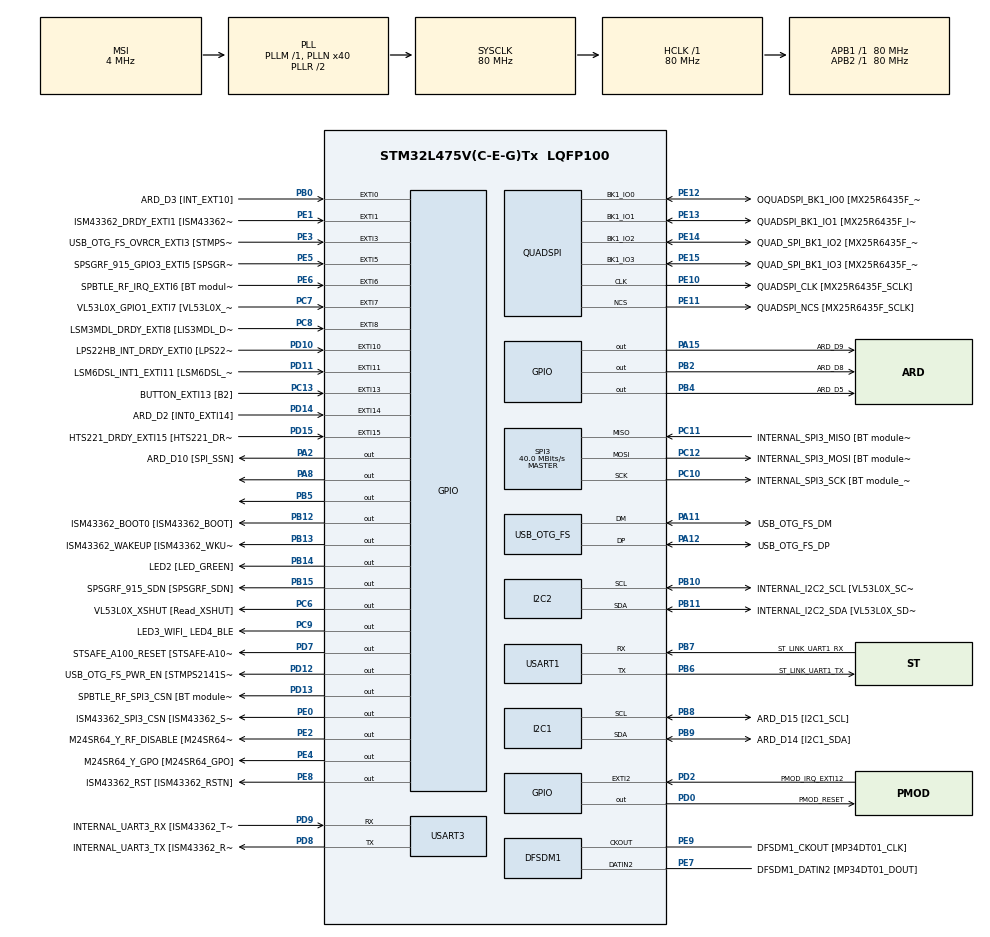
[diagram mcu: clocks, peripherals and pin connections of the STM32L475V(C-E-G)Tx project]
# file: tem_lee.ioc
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I2C1.Timing=0x10D19CE4
I2C2.Timing=0x10D19CE4
Mcu.Family=STM32L4
Mcu.Name=STM32L475V(C-E-G)Tx
Mcu.Package=LQFP100
NVIC.EXTI15_10_IRQn=true\:0\:0\:false\:false\:true\:true\:true\:true
NVIC.EXTI9_5_IRQn=true\:0\:0\:false\:false\:true\:true\:true\:true
NVIC.PriorityGroup=NVIC_PRIORITYGROUP_4
PA0.GPIO_Label=ARD_D1 [UART4_TX]
PA0.Signal=UART4_TX
PA1.GPIO_Label=ARD_D0 [UART4_RX]
PA1.Signal=UART4_RX
PA10.GPIO_Label=USB_OTG_FS_ID
PA10.Signal=USB_OTG_FS_ID
PA11.GPIO_Label=USB_OTG_FS_DM
PA11.Mode=Device_Only
PA11.Signal=USB_OTG_FS_DM
PA12.GPIO_Label=USB_OTG_FS_DP
PA12.Mode=Device_Only
PA12.Signal=USB_OTG_FS_DP
PA13\ (JTMS-SWDIO).GPIO_Label=SYS_JTMS_SWDIO
PA13\ (JTMS-SWDIO).Mode=Serial_Wire
PA13\ (JTMS-SWDIO).Signal=SYS_JTMS-SWDIO
PA14\ (JTCK-SWCLK).GPIO_Label=SYS_JTCK_SWCLK
PA14\ (JTCK-SWCLK).Mode=Serial_Wire
PA14\ (JTCK-SWCLK).Signal=SYS_JTCK-SWCLK
PA15\ (JTDI).GPIO_Label=ARD_D9
PA15\ (JTDI).Signal=GPIO_Output
PA2.GPIO_Label=ARD_D10 [SPI_SSN]
PA2.Signal=GPIO_Output
PA3.GPIO_Label=ARD_D4
PA3.Signal=S_TIM2_CH4
PA4.GPIO_Label=ARD_D7
PA4.Signal=ADCx_IN9
PA5.GPIO_Label=ARD_D13 [SPI1_SCK]
PA5.Signal=SPI1_SCK
PA6.GPIO_Label=ARD_D12 [SPI1_MISO]
PA6.Signal=SPI1_MISO
PA7.GPIO_Label=ARD_D11 [SPI1_MOSI]
PA7.Signal=SPI1_MOSI
PA8.Signal=GPIO_Output
PA9.Signal=USB_OTG_FS_VBUS
PB0.GPIO_Label=ARD_D3 [INT_EXT10]
PB0.Signal=GPXTI0
PB1.GPIO_Label=ARD_D6 [ADC1_IN6]
PB1.Signal=ADCx_IN16
PB10.GPIO_Label=INTERNAL_I2C2_SCL [VL53L0X_SCL]
PB10.GPIO_Pu=GPIO_PULLUP
PB10.Mode=I2C
PB10.Signal=I2C2_SCL
PB11.GPIO_Label=INTERNAL_I2C2_SDA [VL53L0X_SDA]
PB11.GPIO_Pu=GPIO_PULLUP
PB11.Mode=I2C
PB11.Signal=I2C2_SDA
PB12.GPIO_Label=ISM43362_BOOT0 [ISM43362_BOOT]
PB12.Signal=GPIO_Output
PB13.GPIO_Label=ISM43362_WAKEUP [ISM43362_WKUP]
PB13.Signal=GPIO_Output
PB14.GPIO_Label=LED2 [LED_GREEN]
PB14.Signal=GPIO_Output
PB15.GPIO_Label=SPSGRF_915_SDN [SPSGRF_SDN]
PB15.Signal=GPIO_Output
PB2.GPIO_Label=ARD_D8
PB2.Signal=GPIO_Output
PB3\ (JTDO-TRACESWO).GPIO_Label=SYS_JTD0_SWO
PB3\ (JTDO-TRACESWO).Signal=SYS_JTDO-SWO
PB4\ (NJTRST).GPIO_Label=ARD_D5
PB4\ (NJTRST).Signal=GPIO_Output
PB5.Signal=GPIO_Output
PB6.GPIO_Label=ST_LINK_UART1_TX
PB6.Mode=Asynchronous
PB6.Signal=USART1_TX
PB7.GPIO_Label=ST_LINK_UART1_RX
PB7.Mode=Asynchronous
PB7.Signal=USART1_RX
PB8.GPIO_Label=ARD_D15 [I2C1_SCL]
PB8.Mode=I2C
PB8.Signal=I2C1_SCL
PB9.GPIO_Label=ARD_D14 [I2C1_SDA]
PB9.Mode=I2C
PB9.Signal=I2C1_SDA
PC0.GPIO_Label=ARD_A5 [ADC]
PC0.Signal=ADCx_IN1
PC1.GPIO_Label=ARD_A4 [ADC]
PC1.Signal=ADCx_IN2
PC10.GPIO_Label=INTERNAL_SPI3_SCK [BT module_SPI_SCLK] [ISM43362_SCK]
PC10.Mode=Full_Duplex_Master
PC10.Signal=SPI3_SCK
PC11.GPIO_Label=INTERNAL_SPI3_MISO [BT module_SPI_MISO] [ISM43362_MISO]
PC11.Mode=Full_Duplex_Master
PC11.Signal=SPI3_MISO
PC12.GPIO_Label=INTERNAL_SPI3_MOSI [BT module_SPI_MOSI] [ISM43362_MOSI]
PC12.Mode=Full_Duplex_Master
PC12.Signal=SPI3_MOSI
PC13.GPIO_Label=BUTTON_EXTI13 [B2]
PC13.GPIO_ModeDefaultEXTI=GPIO_MODE_IT_FALLING
PC13.Signal=GPXTI13
PC14-OSC32_IN\ (PC14).Mode=LSE-External-Oscillator
PC14-OSC32_IN\ (PC14).Signal=RCC_OSC32_IN
PC15-OSC32_OUT\ (PC15).Mode=LSE-External-Oscillator
PC15-OSC32_OUT\ (PC15).Signal=RCC_OSC32_OUT
PC2.GPIO_Label=ARD_A3 [ADC]
PC2.Signal=ADCx_IN3
PC3.GPIO_Label=ARD_A2 [ADC]
PC3.Signal=ADCx_IN4
PC4.GPIO_Label=ARD_A1 [ADC]
PC4.Signal=ADCx_IN13
PC5.GPIO_Label=ARD_A0 [ADC]
PC5.Signal=ADCx_IN14
PC6.GPIO_Label=VL53L0X_XSHUT [Read_XSHUT]
PC6.Signal=GPIO_Output
PC7.GPIO_Label=VL53L0X_GPIO1_EXTI7 [VL53L0X_GPIO1]
PC7.Signal=GPXTI7
PC8.GPIO_Label=LSM3MDL_DRDY_EXTI8 [LIS3MDL_DRDY]
PC8.Signal=GPXTI8
PC9.GPIO_Label=LED3_WIFI_ LED4_BLE
PC9.Signal=GPIO_Output
PD0.GPIO_Label=PMOD_RESET
PD0.Signal=GPIO_Output
PD1.GPIO_Label=PMOD_SPI2_SCK
PD1.Signal=SPI2_SCK
PD10.GPIO_Label=LPS22HB_INT_DRDY_EXTI0 [LPS22HB_INT_DRDY] 
PD10.Signal=GPXTI10
PD11.GPIO_Label=LSM6DSL_INT1_EXTI11 [LSM6DSL_INT1]
PD11.Signal=GPXTI11
PD12.GPIO_Label=USB_OTG_FS_PWR_EN [STMPS2141STR_EN]
PD12.Signal=GPIO_Output
PD13.GPIO_Label=SPBTLE_RF_SPI3_CSN [BT module_SPI_CS]
PD13.PinState=GPIO_PIN_SET
PD13.Signal=GPIO_Output
PD14.GPIO_Label=ARD_D2 [INT0_EXTI14]
PD14.Signal=GPXTI14
PD15.GPIO_Label=HTS221_DRDY_EXTI15 [HTS221_DRDY]
PD15.Signal=GPXTI15
PD2.GPIO_Label=PMOD_IRQ_EXTI12
PD2.Signal=GPXTI2
PD3.GPIO_Label=PMOD_UART2_CTS
PD3.Signal=USART2_CTS
PD4.GPIO_Label=PMOD_UART2_RTS
PD4.Signal=USART2_RTS
PD5.GPIO_Label=PMOD_UART2_TX
PD5.Signal=USART2_TX
PD6.GPIO_Label=PMOD_UART2_RX
PD6.Signal=USART2_RX
PD7.GPIO_Label=STSAFE_A100_RESET [STSAFE-A100_RESET]
PD7.Signal=GPIO_Output
PD8.GPIO_Label=INTERNAL_UART3_TX [ISM43362_RX]
PD8.Mode=Asynchronous
PD8.Signal=USART3_TX
PD9.GPIO_Label=INTERNAL_UART3_RX [ISM43362_TX]
PD9.Mode=Asynchronous
PD9.Signal=USART3_RX
PE0.GPIO_Label=ISM43362_SPI3_CSN [ISM43362_SSN]
PE0.PinState=GPIO_PIN_SET
PE0.Signal=GPIO_Output
PE1.GPIO_Label=ISM43362_DRDY_EXTI1 [ISM43362_DATARDY]
PE1.Signal=GPXTI1
PE10.GPIO_Label=QUADSPI_CLK [MX25R6435F_SCLK]
PE10.Mode=Single Bank
PE10.Signal=QUADSPI_CLK
PE11.GPIO_Label=QUADSPI_NCS [MX25R6435F_SCLK]
PE11.Mode=Single Bank
PE11.Signal=QUADSPI_NCS
PE12.GPIO_Label=OQUADSPI_BK1_IO0 [MX25R6435F_IO0]
PE12.Mode=Single Bank
PE12.Signal=QUADSPI_BK1_IO0
PE13.GPIO_Label=QUADSPI_BK1_IO1 [MX25R6435F_IO1]
PE13.Mode=Single Bank
PE13.Signal=QUADSPI_BK1_IO1
PE14.GPIO_Label=QUAD_SPI_BK1_IO2 [MX25R6435F_IO2]
PE14.Mode=Single Bank
PE14.Signal=QUADSPI_BK1_IO2
PE15.GPIO_Label=QUAD_SPI_BK1_IO3 [MX25R6435F_IO3]
PE15.Mode=Single Bank
PE15.Signal=QUADSPI_BK1_IO3
PE2.GPIO_Label=M24SR64_Y_RF_DISABLE [M24SR64_RFDIS]
PE2.Signal=GPIO_Output
PE3.GPIO_Label=USB_OTG_FS_OVRCR_EXTI3 [STMPS2141STR_FAULT]
PE3.Signal=GPXTI3
PE4.GPIO_Label=M24SR64_Y_GPO [M24SR64_GPO]
PE4.Signal=GPIO_Output
PE5.GPIO_Label=SPSGRF_915_GPIO3_EXTI5 [SPSGRF_GPIO_3]
PE5.Signal=GPXTI5
PE6.GPIO_Label=SPBTLE_RF_IRQ_EXTI6 [BT module_SPI_IRQ]
PE6.Signal=GPXTI6
PE7.GPIO_Label=DFSDM1_DATIN2 [MP34DT01_DOUT]
PE7.Signal=S_DATAIN2DFSDM1
PE8.GPIO_Label=ISM43362_RST [ISM43362_RSTN]
PE8.Signal=GPIO_Output
PE9.GPIO_Label=DFSDM1_CKOUT [MP34DT01_CLK]
PE9.Signal=S_CKOUTDFSDM1
ProjectManager.HeapSize=0x200
ProjectManager.StackSize=0x400
ProjectManager.TargetToolchain=STM32CubeIDE
QUADSPI.ClockPrescaler=2
QUADSPI.FifoThreshold=4
QUADSPI.FlashSize=23
QUADSPI.SampleShifting=QSPI_SAMPLE_SHIFTING_HALFCYCLE
RCC.ADCFreq_Value=48000000
RCC.AHBFreq_Value=80000000
RCC.APB1Freq_Value=80000000
RCC.APB1TimFreq_Value=80000000
RCC.APB2Freq_Value=80000000
RCC.APB2TimFreq_Value=80000000
RCC.CortexFreq_Value=80000000
RCC.HCLKFreq_Value=80000000
RCC.HSE_VALUE=8000000
RCC.HSI_VALUE=16000000
RCC.MSI_VALUE=4000000
RCC.PLLN=40
RCC.PLLSAI1N=24
RCC.SYSCLKFreq_VALUE=80000000
RCC.SYSCLKSource=RCC_SYSCLKSOURCE_PLLCLK
RCC.USBFreq_Value=48000000
RCC.VCOOutputFreq_Value=160000000
SH.ADCx_IN1.0=ADC1_IN1
SH.ADCx_IN13.0=ADC1_IN13
SH.ADCx_IN14.0=ADC1_IN14
SH.ADCx_IN16.0=ADC1_IN16
SH.ADCx_IN2.0=ADC1_IN2
SH.ADCx_IN3.0=ADC1_IN3
SH.ADCx_IN4.0=ADC1_IN4
SH.ADCx_IN9.0=ADC1_IN9
SH.S_CKOUTDFSDM1.0=DFSDM1_CKOUT,CKOUT
SH.S_CKOUTDFSDM1.1=DFSDM1_CKOUT,PDM_SPI_Input_from_ch12_and_Internal_Clock
SH.S_DATAIN2DFSDM1.0=DFSDM1_DATIN2,PDM_SPI_Input_from_ch12_and_Internal_Clock
SH.S_TIM2_CH4.0=TIM2_CH4
SPI3.CalculateBaudRate=40.0 MBits/s
SPI3.Direction=SPI_DIRECTION_2LINES
SPI3.Mode=SPI_MODE_MASTER
SPI3.VirtualType=VM_MASTER
USART1.VirtualMode-Asynchronous=VM_ASYNC
USART3.VirtualMode-Asynchronous=VM_ASYNC
USB_OTG_FS.VirtualMode=Device_Only
board=B-L475E-IOT01A1

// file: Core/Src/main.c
/* USER CODE BEGIN Header */
/**
  ******************************************************************************
  * @file           : main.c
  * @brief          : Main program body
  ******************************************************************************
  * @attention
  *
  * Copyright (c) 2024 STMicroelectronics.
  * All rights reserved.
  *
  * This software is licensed under terms that can be found in the LICENSE file
  * in the root directory of this software component.
  * If no LICENSE file comes with this software, it is provided AS-IS.
  *
  ******************************************************************************
  */
/* USER CODE END Header */
#include "main.h"

/* USER CODE BEGIN Includes */
#include "stm32l475e_iot01.h"
#include "stm32l475e_iot01_tsensor.h"
#include <math.h>
#include <string.h>
#include <NanoEdgeAI.h>
#include <stdio.h>
/* USER CODE END Includes */

/* USER CODE BEGIN PTD */
#define LEARNING_ITERATIONS 20
#define SLAVE_ADDRESS_LCD 0x4E
/* USER CODE END PTD */

DFSDM_Channel_HandleTypeDef hdfsdm1_channel1;

I2C_HandleTypeDef hi2c1;
I2C_HandleTypeDef hi2c2;

QSPI_HandleTypeDef hqspi;

SPI_HandleTypeDef hspi3;

UART_HandleTypeDef huart1;
UART_HandleTypeDef huart3;

PCD_HandleTypeDef hpcd_USB_OTG_FS;

/* USER CODE BEGIN PV */
float input_user_buffer[DATA_INPUT_USER]; // Buffer for temperature values
uint8_t similarity = 0; // Percentage of similarity
float temp_value = 0;  // Measured temperature value
char str_tmp[100] = ""; // Formatted message to display the temperature value
volatile uint32_t dataRdyIntReceived = 0; // Data ready flag
/* USER CODE END PV */

void SystemClock_Config(void);
static void MX_GPIO_Init(void);
static void MX_DFSDM1_Init(void);
static void MX_I2C2_Init(void);
static void MX_QUADSPI_Init(void);
static void MX_SPI3_Init(void);
static void MX_USART1_UART_Init(void);
static void MX_USART3_UART_Init(void);
static void MX_USB_OTG_FS_PCD_Init(void);
static void MX_I2C1_Init(void);

/* USER CODE BEGIN 0 */
void fill_buffer(float input_buffer[])
{
    for(uint16_t i = 0; i < DATA_INPUT_USER; i++)
    {
        temp_value = BSP_TSENSOR_ReadTemp();
        input_buffer[i] = temp_value; // Store temperature value
        HAL_Delay(1000); // Delay for 1 second between readings
    }
}
void lcd_send_cmd (char cmd)
{
  char data_u, data_l;
  data_u = (cmd&0xf0);
  data_l = ((cmd<<4)&0xf0);
  uint8_t data_t[4];
   data_t[0] = data_u|0x0C;  //en=1, rs=0 -> bxxxx1100
   data_t[1] = data_u|0x08;  //en=0, rs=0 -> bxxxx1000

 	data_t[2] = data_l|0x0C;  //en=1, rs=0 -> bxxxx1100
 	data_t[3] = data_l|0x08;  //en=0, rs=0 -> bxxxx1000
 	HAL_I2C_Master_Transmit (&hi2c1, SLAVE_ADDRESS_LCD,(uint8_t *) data_t, 4, 100);
 }
void lcd_send_data (char data)
{
	char data_u, data_l;
	uint8_t data_t[4];
	data_u = (data&0xf0);
	data_l = ((data<<4)&0xf0);
	data_t[0] = data_u|0x0D;  //en=1, rs=1 -> bxxxx1101
	data_t[1] = data_u|0x09;  //en=0, rs=1 -> bxxxx1001
	data_t[2] = data_l|0x0D;  //en=1, rs=1 -> bxxxx1101
	data_t[3] = data_l|0x09;  //en=0, rs=1 -> bxxxx1001
	HAL_I2C_Master_Transmit (&hi2c1, SLAVE_ADDRESS_LCD,(uint8_t *) data_t, 4, 100);
}
void lcd_init (void)
{
  // 4 bit initialisation
  HAL_Delay(50);  // wait for >40ms
  lcd_send_cmd (0x30);
  HAL_Delay(5);  // wait for >4.1ms
  lcd_send_cmd (0x30);
  HAL_Delay(1);  // wait for >100us
  lcd_send_cmd (0x30);
  HAL_Delay(10);
  lcd_send_cmd (0x20);  // 4bit mode
  HAL_Delay(10);

  // display initialisation
  lcd_send_cmd (0x28); // Function set --> DL=0 (4 bit mode), N = 1 (2 line display) F = 0 (5x8 characters)
  HAL_Delay(1);
  lcd_send_cmd (0x08); //Display on/off control --> D=0,C=0, B=0  ---> display off
  HAL_Delay(1);
  lcd_send_cmd (0x01);  // clear display
  HAL_Delay(2);
  lcd_send_cmd (0x06); //Entry mode set --> I/D = 1 (increment cursor) & S = 0 (no shift)
  HAL_Delay(1);
  lcd_send_cmd (0x0C); //Display on/off control --> D = 1, C and B = 0. (Cursor and blink, last two bits)
}
void lcd_send_string (char *str)
{
  while (*str) lcd_send_data (*str++);
}
void lcd_put_cur(int row, int col)
{
    switch (row)
    {
        case 0:
            col |= 0x80;
            break;
        case 1:
            col |= 0xC0;
            break;
    }
    lcd_send_cmd (col);
}
void lcd_clear(void) {
    lcd_send_cmd(0x01); // Clear display command
    HAL_Delay(2);        // Wait for the command to complete
}
/* USER CODE END 0 */

int main(void)
{

  /* MCU Configuration--------------------------------------------------------*/

  /* Reset of all peripherals, Initializes the Flash interface and the Systick. */
  HAL_Init();

  /* Configure the system clock */
  SystemClock_Config();

  /* Initialize all configured peripherals */
  MX_GPIO_Init();
  MX_DFSDM1_Init();
  MX_I2C2_Init();
  MX_QUADSPI_Init();
  MX_SPI3_Init();
  MX_USART1_UART_Init();
  MX_USART3_UART_Init();
  MX_USB_OTG_FS_PCD_Init();
  MX_I2C1_Init();
  /* USER CODE BEGIN 2 */
  lcd_init();
   BSP_TSENSOR_Init();

   // Initialize NanoEdge AI
   HAL_UART_Transmit(&huart1, (uint8_t *)"=====> Temperature sensor HTS221 initialized \r\n", strlen("=====> Temperature sensor HTS221 initialized \r\n"), 1000);

      // Initialize NanoEdge AI anomaly detection library
      enum neai_state error_code;
      error_code = neai_anomalydetection_init();
      if (error_code != NEAI_OK) {
          // Handle error (e.g., not supported board)
          Error_Handler();
      }

      // Learning phase
      for (uint16_t iteration = 0 ; iteration < LEARNING_ITERATIONS ; iteration++) {
          fill_buffer(input_user_buffer); // Fill buffer with temperature readings
          neai_anomalydetection_learn(input_user_buffer); // Learn normal behavior
      }
  /* USER CODE END 2 */

  /* Infinite loop */
  while (1)
  {
      fill_buffer(input_user_buffer); // Get new temperature data
      neai_anomalydetection_detect(input_user_buffer, &similarity); // Detect anomaly
      char message[50];
                 sprintf(message, "Similarity: %d%%\r\n", similarity);
                 HAL_UART_Transmit(&huart1, (uint8_t *)message, strlen(message), 1000);
                 if (similarity >= 70) {
                     lcd_clear();  // Clear the LCD before printing new content
                     lcd_put_cur(0, 0);  // Set the cursor to row 0, column 0
                     lcd_send_string("NORMAL BEHAVIOR");
                 } else {
                     lcd_clear();  // Clear the LCD before printing new content
                     lcd_put_cur(0, 0);  // Set the cursor to row 0, column 0
                     lcd_send_string("ANOMALY DETECTED!");
                 }

      HAL_Delay(2000); // Delay for 1 second before the next reading

}

  }

void SystemClock_Config(void)
{
  RCC_OscInitTypeDef RCC_OscInitStruct = {0};
  RCC_ClkInitTypeDef RCC_ClkInitStruct = {0};

  /** Configure the main internal regulator output voltage
  */
  if (HAL_PWREx_ControlVoltageScaling(PWR_REGULATOR_VOLTAGE_SCALE1) != HAL_OK)
  {
    Error_Handler();
  }

  /** Configure LSE Drive Capability
  */
  HAL_PWR_EnableBkUpAccess();
  __HAL_RCC_LSEDRIVE_CONFIG(RCC_LSEDRIVE_LOW);

  /** Initializes the RCC Oscillators according to the specified parameters
  * in the RCC_OscInitTypeDef structure.
  */
  RCC_OscInitStruct.OscillatorType = RCC_OSCILLATORTYPE_LSE|RCC_OSCILLATORTYPE_MSI;
  RCC_OscInitStruct.LSEState = RCC_LSE_ON;
  RCC_OscInitStruct.MSIState = RCC_MSI_ON;
  RCC_OscInitStruct.MSICalibrationValue = 0;
  RCC_OscInitStruct.MSIClockRange = RCC_MSIRANGE_6;
  RCC_OscInitStruct.PLL.PLLState = RCC_PLL_ON;
  RCC_OscInitStruct.PLL.PLLSource = RCC_PLLSOURCE_MSI;
  RCC_OscInitStruct.PLL.PLLM = 1;
  RCC_OscInitStruct.PLL.PLLN = 40;
  RCC_OscInitStruct.PLL.PLLP = RCC_PLLP_DIV7;
  RCC_OscInitStruct.PLL.PLLQ = RCC_PLLQ_DIV2;
  RCC_OscInitStruct.PLL.PLLR = RCC_PLLR_DIV2;
  if (HAL_RCC_OscConfig(&RCC_OscInitStruct) != HAL_OK)
  {
    Error_Handler();
  }

  /** Initializes the CPU, AHB and APB buses clocks
  */
  RCC_ClkInitStruct.ClockType = RCC_CLOCKTYPE_HCLK|RCC_CLOCKTYPE_SYSCLK
                              |RCC_CLOCKTYPE_PCLK1|RCC_CLOCKTYPE_PCLK2;
  RCC_ClkInitStruct.SYSCLKSource = RCC_SYSCLKSOURCE_PLLCLK;
  RCC_ClkInitStruct.AHBCLKDivider = RCC_SYSCLK_DIV1;
  RCC_ClkInitStruct.APB1CLKDivider = RCC_HCLK_DIV1;
  RCC_ClkInitStruct.APB2CLKDivider = RCC_HCLK_DIV1;

  if (HAL_RCC_ClockConfig(&RCC_ClkInitStruct, FLASH_LATENCY_4) != HAL_OK)
  {
    Error_Handler();
  }

  /** Enable MSI Auto calibration
  */
  HAL_RCCEx_EnableMSIPLLMode();
}

static void MX_DFSDM1_Init(void)
{

  hdfsdm1_channel1.Instance = DFSDM1_Channel1;
  hdfsdm1_channel1.Init.OutputClock.Activation = ENABLE;
  hdfsdm1_channel1.Init.OutputClock.Selection = DFSDM_CHANNEL_OUTPUT_CLOCK_SYSTEM;
  hdfsdm1_channel1.Init.OutputClock.Divider = 2;
  hdfsdm1_channel1.Init.Input.Multiplexer = DFSDM_CHANNEL_EXTERNAL_INPUTS;
  hdfsdm1_channel1.Init.Input.DataPacking = DFSDM_CHANNEL_STANDARD_MODE;
  hdfsdm1_channel1.Init.Input.Pins = DFSDM_CHANNEL_FOLLOWING_CHANNEL_PINS;
  hdfsdm1_channel1.Init.SerialInterface.Type = DFSDM_CHANNEL_SPI_RISING;
  hdfsdm1_channel1.Init.SerialInterface.SpiClock = DFSDM_CHANNEL_SPI_CLOCK_INTERNAL;
  hdfsdm1_channel1.Init.Awd.FilterOrder = DFSDM_CHANNEL_FASTSINC_ORDER;
  hdfsdm1_channel1.Init.Awd.Oversampling = 1;
  hdfsdm1_channel1.Init.Offset = 0;
  hdfsdm1_channel1.Init.RightBitShift = 0x00;
  if (HAL_DFSDM_ChannelInit(&hdfsdm1_channel1) != HAL_OK)
  {
    Error_Handler();
  }

}

static void MX_I2C1_Init(void)
{

  hi2c1.Instance = I2C1;
  hi2c1.Init.Timing = 0x10D19CE4;
  hi2c1.Init.OwnAddress1 = 0;
  hi2c1.Init.AddressingMode = I2C_ADDRESSINGMODE_7BIT;
  hi2c1.Init.DualAddressMode = I2C_DUALADDRESS_DISABLE;
  hi2c1.Init.OwnAddress2 = 0;
  hi2c1.Init.OwnAddress2Masks = I2C_OA2_NOMASK;
  hi2c1.Init.GeneralCallMode = I2C_GENERALCALL_DISABLE;
  hi2c1.Init.NoStretchMode = I2C_NOSTRETCH_DISABLE;
  if (HAL_I2C_Init(&hi2c1) != HAL_OK)
  {
    Error_Handler();
  }

  /** Configure Analogue filter
  */
  if (HAL_I2CEx_ConfigAnalogFilter(&hi2c1, I2C_ANALOGFILTER_ENABLE) != HAL_OK)
  {
    Error_Handler();
  }

  /** Configure Digital filter
  */
  if (HAL_I2CEx_ConfigDigitalFilter(&hi2c1, 0) != HAL_OK)
  {
    Error_Handler();
  }

}

static void MX_I2C2_Init(void)
{

  hi2c2.Instance = I2C2;
  hi2c2.Init.Timing = 0x10D19CE4;
  hi2c2.Init.OwnAddress1 = 0;
  hi2c2.Init.AddressingMode = I2C_ADDRESSINGMODE_7BIT;
  hi2c2.Init.DualAddressMode = I2C_DUALADDRESS_DISABLE;
  hi2c2.Init.OwnAddress2 = 0;
  hi2c2.Init.OwnAddress2Masks = I2C_OA2_NOMASK;
  hi2c2.Init.GeneralCallMode = I2C_GENERALCALL_DISABLE;
  hi2c2.Init.NoStretchMode = I2C_NOSTRETCH_DISABLE;
  if (HAL_I2C_Init(&hi2c2) != HAL_OK)
  {
    Error_Handler();
  }

  /** Configure Analogue filter
  */
  if (HAL_I2CEx_ConfigAnalogFilter(&hi2c2, I2C_ANALOGFILTER_ENABLE) != HAL_OK)
  {
    Error_Handler();
  }

  /** Configure Digital filter
  */
  if (HAL_I2CEx_ConfigDigitalFilter(&hi2c2, 0) != HAL_OK)
  {
    Error_Handler();
  }

}

static void MX_QUADSPI_Init(void)
{

  /* QUADSPI parameter configuration*/
  hqspi.Instance = QUADSPI;
  hqspi.Init.ClockPrescaler = 2;
  hqspi.Init.FifoThreshold = 4;
  hqspi.Init.SampleShifting = QSPI_SAMPLE_SHIFTING_HALFCYCLE;
  hqspi.Init.FlashSize = 23;
  hqspi.Init.ChipSelectHighTime = QSPI_CS_HIGH_TIME_1_CYCLE;
  hqspi.Init.ClockMode = QSPI_CLOCK_MODE_0;
  if (HAL_QSPI_Init(&hqspi) != HAL_OK)
  {
    Error_Handler();
  }

}

static void MX_SPI3_Init(void)
{

  /* SPI3 parameter configuration*/
  hspi3.Instance = SPI3;
  hspi3.Init.Mode = SPI_MODE_MASTER;
  hspi3.Init.Direction = SPI_DIRECTION_2LINES;
  hspi3.Init.DataSize = SPI_DATASIZE_4BIT;
  hspi3.Init.CLKPolarity = SPI_POLARITY_LOW;
  hspi3.Init.CLKPhase = SPI_PHASE_1EDGE;
  hspi3.Init.NSS = SPI_NSS_SOFT;
  hspi3.Init.BaudRatePrescaler = SPI_BAUDRATEPRESCALER_2;
  hspi3.Init.FirstBit = SPI_FIRSTBIT_MSB;
  hspi3.Init.TIMode = SPI_TIMODE_DISABLE;
  hspi3.Init.CRCCalculation = SPI_CRCCALCULATION_DISABLE;
  hspi3.Init.CRCPolynomial = 7;
  hspi3.Init.CRCLength = SPI_CRC_LENGTH_DATASIZE;
  hspi3.Init.NSSPMode = SPI_NSS_PULSE_ENABLE;
  if (HAL_SPI_Init(&hspi3) != HAL_OK)
  {
    Error_Handler();
  }

}

static void MX_USART1_UART_Init(void)
{

  huart1.Instance = USART1;
  huart1.Init.BaudRate = 115200;
  huart1.Init.WordLength = UART_WORDLENGTH_8B;
  huart1.Init.StopBits = UART_STOPBITS_1;
  huart1.Init.Parity = UART_PARITY_NONE;
  huart1.Init.Mode = UART_MODE_TX_RX;
  huart1.Init.HwFlowCtl = UART_HWCONTROL_NONE;
  huart1.Init.OverSampling = UART_OVERSAMPLING_16;
  huart1.Init.OneBitSampling = UART_ONE_BIT_SAMPLE_DISABLE;
  huart1.AdvancedInit.AdvFeatureInit = UART_ADVFEATURE_NO_INIT;
  if (HAL_UART_Init(&huart1) != HAL_OK)
  {
    Error_Handler();
  }

}

static void MX_USART3_UART_Init(void)
{

  huart3.Instance = USART3;
  huart3.Init.BaudRate = 115200;
  huart3.Init.WordLength = UART_WORDLENGTH_8B;
  huart3.Init.StopBits = UART_STOPBITS_1;
  huart3.Init.Parity = UART_PARITY_NONE;
  huart3.Init.Mode = UART_MODE_TX_RX;
  huart3.Init.HwFlowCtl = UART_HWCONTROL_NONE;
  huart3.Init.OverSampling = UART_OVERSAMPLING_16;
  huart3.Init.OneBitSampling = UART_ONE_BIT_SAMPLE_DISABLE;
  huart3.AdvancedInit.AdvFeatureInit = UART_ADVFEATURE_NO_INIT;
  if (HAL_UART_Init(&huart3) != HAL_OK)
  {
    Error_Handler();
  }

}

static void MX_USB_OTG_FS_PCD_Init(void)
{

  hpcd_USB_OTG_FS.Instance = USB_OTG_FS;
  hpcd_USB_OTG_FS.Init.dev_endpoints = 6;
  hpcd_USB_OTG_FS.Init.speed = PCD_SPEED_FULL;
  hpcd_USB_OTG_FS.Init.phy_itface = PCD_PHY_EMBEDDED;
  hpcd_USB_OTG_FS.Init.Sof_enable = DISABLE;
  hpcd_USB_OTG_FS.Init.low_power_enable = DISABLE;
  hpcd_USB_OTG_FS.Init.lpm_enable = DISABLE;
  hpcd_USB_OTG_FS.Init.battery_charging_enable = DISABLE;
  hpcd_USB_OTG_FS.Init.use_dedicated_ep1 = DISABLE;
  hpcd_USB_OTG_FS.Init.vbus_sensing_enable = DISABLE;
  if (HAL_PCD_Init(&hpcd_USB_OTG_FS) != HAL_OK)
  {
    Error_Handler();
  }

}

static void MX_GPIO_Init(void)
{
  GPIO_InitTypeDef GPIO_InitStruct = {0};

  /* GPIO Ports Clock Enable */
  __HAL_RCC_GPIOE_CLK_ENABLE();
  __HAL_RCC_GPIOC_CLK_ENABLE();
  __HAL_RCC_GPIOA_CLK_ENABLE();
  __HAL_RCC_GPIOB_CLK_ENABLE();
  __HAL_RCC_GPIOD_CLK_ENABLE();

  /*Configure GPIO pin Output Level */
  HAL_GPIO_WritePin(GPIOE, M24SR64_Y_RF_DISABLE_Pin|M24SR64_Y_GPO_Pin|ISM43362_RST_Pin, GPIO_PIN_RESET);

  /*Configure GPIO pin Output Level */
  HAL_GPIO_WritePin(GPIOA, ARD_D10_Pin|GPIO_PIN_8|ARD_D9_Pin, GPIO_PIN_RESET);

  /*Configure GPIO pin Output Level */
  HAL_GPIO_WritePin(GPIOB, ARD_D8_Pin|ISM43362_BOOT0_Pin|ISM43362_WAKEUP_Pin|LED2_Pin
                          |SPSGRF_915_SDN_Pin|ARD_D5_Pin|GPIO_PIN_5, GPIO_PIN_RESET);

  /*Configure GPIO pin Output Level */
  HAL_GPIO_WritePin(GPIOD, USB_OTG_FS_PWR_EN_Pin|PMOD_RESET_Pin|STSAFE_A100_RESET_Pin, GPIO_PIN_RESET);

  /*Configure GPIO pin Output Level */
  HAL_GPIO_WritePin(SPBTLE_RF_SPI3_CSN_GPIO_Port, SPBTLE_RF_SPI3_CSN_Pin, GPIO_PIN_SET);

  /*Configure GPIO pin Output Level */
  HAL_GPIO_WritePin(GPIOC, VL53L0X_XSHUT_Pin|LED3_WIFI__LED4_BLE_Pin, GPIO_PIN_RESET);

  /*Configure GPIO pin Output Level */
  HAL_GPIO_WritePin(ISM43362_SPI3_CSN_GPIO_Port, ISM43362_SPI3_CSN_Pin, GPIO_PIN_SET);

  /*Configure GPIO pins : M24SR64_Y_RF_DISABLE_Pin M24SR64_Y_GPO_Pin ISM43362_RST_Pin ISM43362_SPI3_CSN_Pin */
  GPIO_InitStruct.Pin = M24SR64_Y_RF_DISABLE_Pin|M24SR64_Y_GPO_Pin|ISM43362_RST_Pin|ISM43362_SPI3_CSN_Pin;
  GPIO_InitStruct.Mode = GPIO_MODE_OUTPUT_PP;
  GPIO_InitStruct.Pull = GPIO_NOPULL;
  GPIO_InitStruct.Speed = GPIO_SPEED_FREQ_LOW;
  HAL_GPIO_Init(GPIOE, &GPIO_InitStruct);

  /*Configure GPIO pins : USB_OTG_FS_OVRCR_EXTI3_Pin SPSGRF_915_GPIO3_EXTI5_Pin SPBTLE_RF_IRQ_EXTI6_Pin ISM43362_DRDY_EXTI1_Pin */
  GPIO_InitStruct.Pin = USB_OTG_FS_OVRCR_EXTI3_Pin|SPSGRF_915_GPIO3_EXTI5_Pin|SPBTLE_RF_IRQ_EXTI6_Pin|ISM43362_DRDY_EXTI1_Pin;
  GPIO_InitStruct.Mode = GPIO_MODE_IT_RISING;
  GPIO_InitStruct.Pull = GPIO_NOPULL;
  HAL_GPIO_Init(GPIOE, &GPIO_InitStruct);

  /*Configure GPIO pin : BUTTON_EXTI13_Pin */
  GPIO_InitStruct.Pin = BUTTON_EXTI13_Pin;
  GPIO_InitStruct.Mode = GPIO_MODE_IT_FALLING;
  GPIO_InitStruct.Pull = GPIO_NOPULL;
  HAL_GPIO_Init(BUTTON_EXTI13_GPIO_Port, &GPIO_InitStruct);

  /*Configure GPIO pins : ARD_A5_Pin ARD_A4_Pin ARD_A3_Pin ARD_A2_Pin
                           ARD_A1_Pin ARD_A0_Pin */
  GPIO_InitStruct.Pin = ARD_A5_Pin|ARD_A4_Pin|ARD_A3_Pin|ARD_A2_Pin
                          |ARD_A1_Pin|ARD_A0_Pin;
  GPIO_InitStruct.Mode = GPIO_MODE_ANALOG_ADC_CONTROL;
  GPIO_InitStruct.Pull = GPIO_NOPULL;
  HAL_GPIO_Init(GPIOC, &GPIO_InitStruct);

  /*Configure GPIO pins : ARD_D1_Pin ARD_D0_Pin */
  GPIO_InitStruct.Pin = ARD_D1_Pin|ARD_D0_Pin;
  GPIO_InitStruct.Mode = GPIO_MODE_AF_PP;
  GPIO_InitStruct.Pull = GPIO_NOPULL;
  GPIO_InitStruct.Speed = GPIO_SPEED_FREQ_VERY_HIGH;
  GPIO_InitStruct.Alternate = GPIO_AF8_UART4;
  HAL_GPIO_Init(GPIOA, &GPIO_InitStruct);

  /*Configure GPIO pins : ARD_D10_Pin PA8 ARD_D9_Pin */
  GPIO_InitStruct.Pin = ARD_D10_Pin|GPIO_PIN_8|ARD_D9_Pin;
  GPIO_InitStruct.Mode = GPIO_MODE_OUTPUT_PP;
  GPIO_InitStruct.Pull = GPIO_NOPULL;
  GPIO_InitStruct.Speed = GPIO_SPEED_FREQ_LOW;
  HAL_GPIO_Init(GPIOA, &GPIO_InitStruct);

  /*Configure GPIO pin : ARD_D4_Pin */
  GPIO_InitStruct.Pin = ARD_D4_Pin;
  GPIO_InitStruct.Mode = GPIO_MODE_AF_PP;
  GPIO_InitStruct.Pull = GPIO_NOPULL;
  GPIO_InitStruct.Speed = GPIO_SPEED_FREQ_LOW;
  GPIO_InitStruct.Alternate = GPIO_AF1_TIM2;
  HAL_GPIO_Init(ARD_D4_GPIO_Port, &GPIO_InitStruct);

  /*Configure GPIO pin : ARD_D7_Pin */
  GPIO_InitStruct.Pin = ARD_D7_Pin;
  GPIO_InitStruct.Mode = GPIO_MODE_ANALOG_ADC_CONTROL;
  GPIO_InitStruct.Pull = GPIO_NOPULL;
  HAL_GPIO_Init(ARD_D7_GPIO_Port, &GPIO_InitStruct);

  /*Configure GPIO pins : ARD_D13_Pin ARD_D12_Pin ARD_D11_Pin */
  GPIO_InitStruct.Pin = ARD_D13_Pin|ARD_D12_Pin|ARD_D11_Pin;
  GPIO_InitStruct.Mode = GPIO_MODE_AF_PP;
  GPIO_InitStruct.Pull = GPIO_NOPULL;
  GPIO_InitStruct.Speed = GPIO_SPEED_FREQ_VERY_HIGH;
  GPIO_InitStruct.Alternate = GPIO_AF5_SPI1;
  HAL_GPIO_Init(GPIOA, &GPIO_InitStruct);

  /*Configure GPIO pin : ARD_D3_Pin */
  GPIO_InitStruct.Pin = ARD_D3_Pin;
  GPIO_InitStruct.Mode = GPIO_MODE_IT_RISING;
  GPIO_InitStruct.Pull = GPIO_NOPULL;
  HAL_GPIO_Init(ARD_D3_GPIO_Port, &GPIO_InitStruct);

  /*Configure GPIO pin : ARD_D6_Pin */
  GPIO_InitStruct.Pin = ARD_D6_Pin;
  GPIO_InitStruct.Mode = GPIO_MODE_ANALOG_ADC_CONTROL;
  GPIO_InitStruct.Pull = GPIO_NOPULL;
  HAL_GPIO_Init(ARD_D6_GPIO_Port, &GPIO_InitStruct);

  /*Configure GPIO pins : ARD_D8_Pin ISM43362_BOOT0_Pin ISM43362_WAKEUP_Pin LED2_Pin
                           SPSGRF_915_SDN_Pin ARD_D5_Pin PB5 */
  GPIO_InitStruct.Pin = ARD_D8_Pin|ISM43362_BOOT0_Pin|ISM43362_WAKEUP_Pin|LED2_Pin
                          |SPSGRF_915_SDN_Pin|ARD_D5_Pin|GPIO_PIN_5;
  GPIO_InitStruct.Mode = GPIO_MODE_OUTPUT_PP;
  GPIO_InitStruct.Pull = GPIO_NOPULL;
  GPIO_InitStruct.Speed = GPIO_SPEED_FREQ_LOW;
  HAL_GPIO_Init(GPIOB, &GPIO_InitStruct);

  /*Configure GPIO pins : LPS22HB_INT_DRDY_EXTI0_Pin LSM6DSL_INT1_EXTI11_Pin ARD_D2_Pin HTS221_DRDY_EXTI15_Pin
                           PMOD_IRQ_EXTI12_Pin */
  GPIO_InitStruct.Pin = LPS22HB_INT_DRDY_EXTI0_Pin|LSM6DSL_INT1_EXTI11_Pin|ARD_D2_Pin|HTS221_DRDY_EXTI15_Pin
                          |PMOD_IRQ_EXTI12_Pin;
  GPIO_InitStruct.Mode = GPIO_MODE_IT_RISING;
  GPIO_InitStruct.Pull = GPIO_NOPULL;
  HAL_GPIO_Init(GPIOD, &GPIO_InitStruct);

  /*Configure GPIO pins : USB_OTG_FS_PWR_EN_Pin SPBTLE_RF_SPI3_CSN_Pin PMOD_RESET_Pin STSAFE_A100_RESET_Pin */
  GPIO_InitStruct.Pin = USB_OTG_FS_PWR_EN_Pin|SPBTLE_RF_SPI3_CSN_Pin|PMOD_RESET_Pin|STSAFE_A100_RESET_Pin;
  GPIO_InitStruct.Mode = GPIO_MODE_OUTPUT_PP;
  GPIO_InitStruct.Pull = GPIO_NOPULL;
  GPIO_InitStruct.Speed = GPIO_SPEED_FREQ_LOW;
  HAL_GPIO_Init(GPIOD, &GPIO_InitStruct);

  /*Configure GPIO pins : VL53L0X_XSHUT_Pin LED3_WIFI__LED4_BLE_Pin */
  GPIO_InitStruct.Pin = VL53L0X_XSHUT_Pin|LED3_WIFI__LED4_BLE_Pin;
  GPIO_InitStruct.Mode = GPIO_MODE_OUTPUT_PP;
  GPIO_InitStruct.Pull = GPIO_NOPULL;
  GPIO_InitStruct.Speed = GPIO_SPEED_FREQ_LOW;
  HAL_GPIO_Init(GPIOC, &GPIO_InitStruct);

  /*Configure GPIO pins : VL53L0X_GPIO1_EXTI7_Pin LSM3MDL_DRDY_EXTI8_Pin */
  GPIO_InitStruct.Pin = VL53L0X_GPIO1_EXTI7_Pin|LSM3MDL_DRDY_EXTI8_Pin;
  GPIO_InitStruct.Mode = GPIO_MODE_IT_RISING;
  GPIO_InitStruct.Pull = GPIO_NOPULL;
  HAL_GPIO_Init(GPIOC, &GPIO_InitStruct);

  /*Configure GPIO pin : PMOD_SPI2_SCK_Pin */
  GPIO_InitStruct.Pin = PMOD_SPI2_SCK_Pin;
  GPIO_InitStruct.Mode = GPIO_MODE_AF_PP;
  GPIO_InitStruct.Pull = GPIO_NOPULL;
  GPIO_InitStruct.Speed = GPIO_SPEED_FREQ_VERY_HIGH;
  GPIO_InitStruct.Alternate = GPIO_AF5_SPI2;
  HAL_GPIO_Init(PMOD_SPI2_SCK_GPIO_Port, &GPIO_InitStruct);

  /*Configure GPIO pins : PMOD_UART2_CTS_Pin PMOD_UART2_RTS_Pin PMOD_UART2_TX_Pin PMOD_UART2_RX_Pin */
  GPIO_InitStruct.Pin = PMOD_UART2_CTS_Pin|PMOD_UART2_RTS_Pin|PMOD_UART2_TX_Pin|PMOD_UART2_RX_Pin;
  GPIO_InitStruct.Mode = GPIO_MODE_AF_PP;
  GPIO_InitStruct.Pull = GPIO_NOPULL;
  GPIO_InitStruct.Speed = GPIO_SPEED_FREQ_VERY_HIGH;
  GPIO_InitStruct.Alternate = GPIO_AF7_USART2;
  HAL_GPIO_Init(GPIOD, &GPIO_InitStruct);

  /* EXTI interrupt init*/
  HAL_NVIC_SetPriority(EXTI9_5_IRQn, 0, 0);
  HAL_NVIC_EnableIRQ(EXTI9_5_IRQn);

  HAL_NVIC_SetPriority(EXTI15_10_IRQn, 0, 0);
  HAL_NVIC_EnableIRQ(EXTI15_10_IRQn);

}

void Error_Handler(void)
{
  __disable_irq();
  while (1)
  {
  }
}
